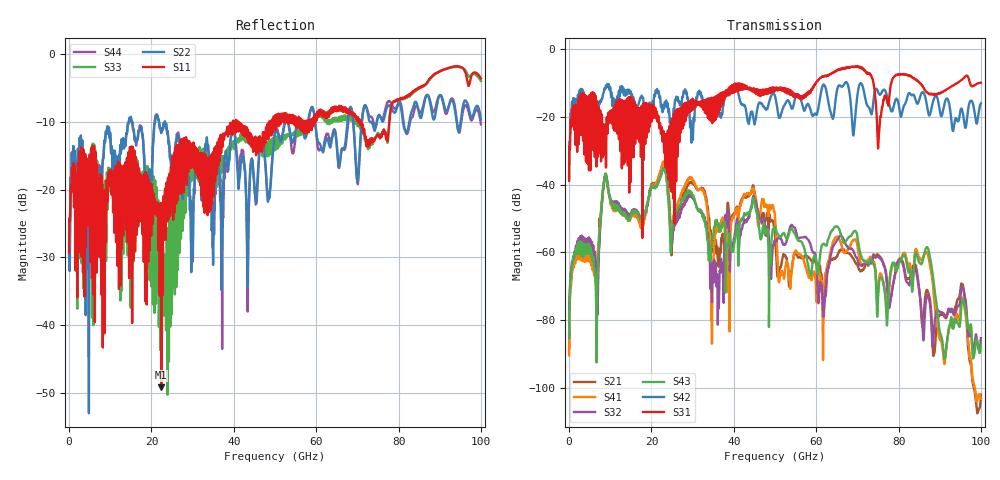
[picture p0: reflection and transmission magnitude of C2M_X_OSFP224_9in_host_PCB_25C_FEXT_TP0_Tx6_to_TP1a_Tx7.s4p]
# GHz S RI R 45
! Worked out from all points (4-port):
!   4000 points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, 25 MHz to 100 GHz, reference 45 ohm
!   strongest paths, dB at 25 MHz, 25.02 GHz, 50.02 GHz, 75.03 GHz, 100 GHz:
!     S31: -38.8, -22.1, -11.4, -29.2, -9.9
!     S42: -37.9, -22.2, -13.8, -12.5, -15.9
!     S43: -85.3, -53.8, -52.7, -73.6, -87.2
!     S32: -84.5, -57.3, -56.7, -61.3, -85.4
!     S41: -90.4, -52.6, -49.7, -71.7, -103.2
!     S21: -88.7, -56.3, -55.1, -60.7, -102.0
!   lowest |S11| = -49.1 dB at 22.4 GHz (marker M1), VSWR 1.01, Z = 44.7 - j0.0586 ohm
!   |S11| at or under -10 dB: start of sweep to 39.81 GHz; 40.96 GHz to 48.57 GHz (7.613 GHz wide, 17 % of centre); 70.95 GHz to 77.77 GHz (6.819 GHz wide, 9.17 % of centre)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
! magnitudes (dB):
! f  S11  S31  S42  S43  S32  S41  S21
! 25 MHz  -29.3  -38.8  -37.9  -85.3  -84.5  -90.4  -88.7
! 6.625 GHz  -31.3  -31.8  -19.1  -78.7  -64.3  -65.8  -68.8
! 8.8 GHz  -20.1  -22.2  -11.6  -36.9  -37.1  -37.2  -37.2
! 22.4 GHz  -49.1  -23.9  -16.7  -36.8  -36.8  -35.2  -35.2
! 36.2 GHz  -16.5  -17.6  -19.2  -51.6  -72.9  -52.1  -63.3
! 44.88 GHz  -12.5  -11.5  -21.1  -44.4  -43.8  -41.9  -41.1
! 100 GHz  -3.6  -9.9  -15.9  -87.2  -85.4  -103.2  -102.0
